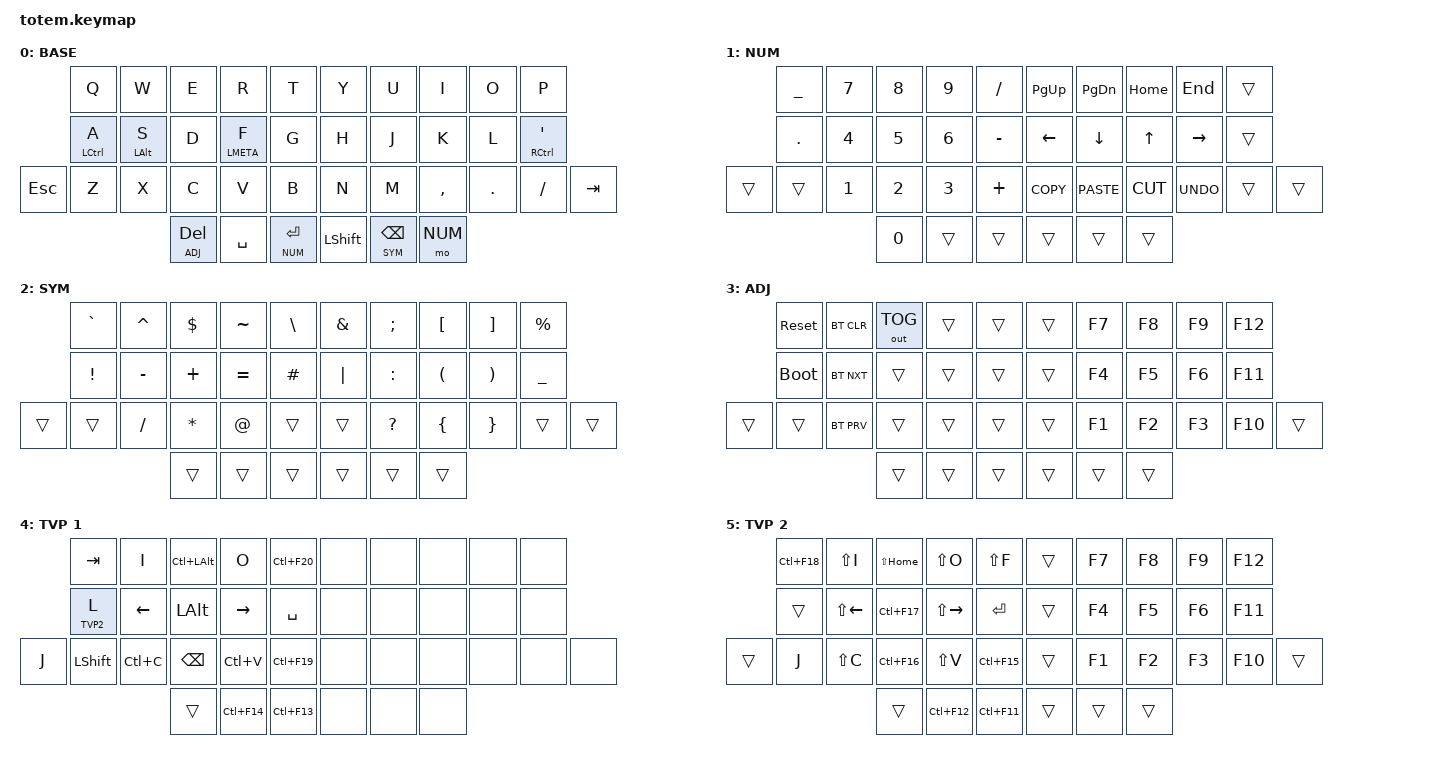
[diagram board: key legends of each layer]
//
//                                                        ▀▀▀▀▀     ▀▀▀▀▀          ▀▀█▀▀
//                                                        ▄▀▀▀▄  ▄  ▄▀▀▀▄  ▄  ▄▀▀▀▄  █  ▄▀▀▀▄
//                                                        █   █  █  █   █  █  █   █  █  █   █
//                                                         ▀▀▀   █   ▀▀▀   █   ▀▀▀   ▀   ▀▀▀
//                                                               █      ▄▄▄█▄▄▄    █   █
//                                                               ▀      █  █  █     █▄█
//                                                             ▀▀▀▀▀    █  █  █      ▀
//                                                                      ▀  ▀  ▀
//
// ▄▄▄▄▄▄▄▄▄▄▄▄▄▄▄▄▄▄▄▄▄▄▄▄▄▄▄▄▄▄▄▄▄▄▄▄▄▄▄▄▄▄▄▄▄▄▄▄▄▄▄▄▄▄▄▄▄▄▄▄▄▄▄▄▄▄▄▄▄▄▄▄▄▄▄▄▄▄▄▄▄▄▄▄▄▄▄▄▄▄▄▄▄▄▄▄▄▄▄▄▄▄▄▄▄▄▄▄▄▄▄▄▄▄▄▄▄▄▄▄▄▄▄▄▄▄▄▄▄▄▄▄▄▄▄▄▄▄▄▄▄▄▄▄▄▄▄▄▄


#include <behaviors.dtsi>
#include <dt-bindings/zmk/keys.h>
#include <dt-bindings/zmk/bt.h>
#include <dt-bindings/zmk/outputs.h>

#define BASE 0
#define NUM  1
#define SYM  2
#define ADJ  3

// UNUSED
#define TVP1 4
#define TVP2 5

&mt {
  quick-tap-ms = <100>;
  global-quick-tap;
  flavor = "tap-preferred";
  tapping-term-ms = <225>;
};

&lt {
    tapping-term-ms = <200>;
    quick-tap-ms = <200>; // This enables the "tap-then-hold" repeat
};

/ {
     combos {
            compatible = "zmk,combos";
            combo_esc {
                timeout-ms = <50>;
                key-positions = <0 1>;
                bindings = <&kp ESC>;
            };
            combo_tvp {
                timeout-ms = <100>;
                key-positions = <11 12 13>;
                bindings = <&tog TVP1>;
            };
    };

    macros {
        gif: gif {
            label = "giphy";
            compatible = "zmk,behavior-macro";
            #binding-cells = <0>;
            bindings
                = <&macro_press &kp LSHFT>
                , <&macro_tap &kp N2>
                , <&macro_release &kp LSHFT>
                , <&macro_tap &kp G &kp I &kp F>
                ;
        };
    };

        keymap {
                compatible = "zmk,keymap";
// ▄▄▄▄▄▄▄▄▄▄▄▄▄▄▄▄▄▄▄▄▄▄▄▄▄▄▄▄▄▄▄▄▄▄▄▄▄▄▄▄▄▄▄▄▄▄▄▄▄▄▄▄▄▄▄▄▄▄▄▄▄▄▄▄▄▄▄▄▄▄▄▄▄▄▄▄▄▄▄▄▄▄▄▄▄▄▄▄▄▄▄▄▄▄▄▄▄▄▄▄▄▄▄▄▄▄▄▄▄▄▄▄▄▄▄▄▄▄▄▄▄▄▄▄▄▄▄▄▄▄▄▄▄▄▄▄▄▄▄▄▄▄▄▄▄▄▄▄▄

                base_layer {
// ┏━━━━━━━━━━━━━━━━━━━━━━━━━━━━━━━━━━━━━━━┓
label= "BASE"                              ;
// ┗━━━━━━━━━━━━━━━━━━━━━━━━━━━━━━━━━━━━━━━┛
//             ┏━━━━━━━━━━━┳━━━━━━━━━━━┳━━━━━━━━━━━┳━━━━━━━━━━━┳━━━━━━━━━━━┓   ┏━━━━━━━━━━━┳━━━━━━━━━━━┳━━━━━━━━━━━┳━━━━━━━━━━━┳━━━━━━━━━━━┓
//             ┃     Q     ┃     W     ┃     E     ┃     R     ┃     T     ┃   ┃     Y     ┃     U     ┃     I     ┃     O     ┃     P     ┃
//             ┣━━━━━━━━━━━╋━━━━━━━━━━━╋━━━━━━━━━━━╋━━━━━━━━━━━╋━━━━━━━━━━━┫   ┣━━━━━━━━━━━╋━━━━━━━━━━━╋━━━━━━━━━━━╋━━━━━━━━━━━╋━━━━━━━━━━━┫
//             ┃     A     ┃     S     ┃     D     ┃     F     ┃     G     ┃   ┃     H     ┃     J     ┃     K     ┃     L     ┃     '     ┃
// ┏━━━━━━━━━━━╋━━━━━━━━━━━╋━━━━━━━━━━━╋━━━━━━━━━━━╋━━━━━━━━━━━╋━━━━━━━━━━━┫   ┣━━━━━━━━━━━╋━━━━━━━━━━━╋━━━━━━━━━━━╋━━━━━━━━━━━╋━━━━━━━━━━━╋━━━━━━━━━━━┓
// ┃    ESC    ┃     Z     ┃     X     ┃     C     ┃     V     ┃     B     ┃   ┃     N     ┃     M     ┃     ,     ┃     .     ┃     /     ┃     TAB   ┃
// ┗━━━━━━━━━━━┻━━━━━━━━━━━┻━━━━━━━━━━━╋━━━━━━━━━━━╋━━━━━━━━━━━╋━━━━━━━━━━━┫   ┣━━━━━━━━━━━╋━━━━━━━━━━━╋━━━━━━━━━━━╋━━━━━━━━━━━┻━━━━━━━━━━━┻━━━━━━━━━━━┛
//                                     ┃    DEL    ┃    SPC    ┃   ENTER   ┃   ┃   SHIFT   ┃   BSPC    ┃   LAYER   ┃
//                                     ┗━━━━━━━━━━━┻━━━━━━━━━━━┻━━━━━━━━━━━┛   ┗━━━━━━━━━━━┻━━━━━━━━━━━┻━━━━━━━━━━━┛
 bindings = <
// ╷           ╷           ╷           ╷           ╷           ╷           ╷   ╷           ╷           ╷           ╷           ╷           ╷           ╷

                &kp Q       &kp W       &kp E       &kp R       &kp T           &kp Y       &kp U       &kp I       &kp O       &kp P
                &mt LCTRL A &mt LALT S  &kp D       &mt LMETA F &kp G           &kp H       &kp J       &kp K       &kp L       &mt RCTRL APOS
    &kp ESC     &kp Z       &kp X       &kp C       &kp V       &kp B           &kp N       &kp M       &kp COMMA   &kp DOT     &kp FSLH    &kp TAB
                                        &lt ADJ DEL &kp SPACE   &lt NUM ENTER   &kp LSHFT  &lt SYM BSPC &mo NUM
                        >;
                };

// ▄▄▄▄▄▄▄▄▄▄▄▄▄▄▄▄▄▄▄▄▄▄▄▄▄▄▄▄▄▄▄▄▄▄▄▄▄▄▄▄▄▄▄▄▄▄▄▄▄▄▄▄▄▄▄▄▄▄▄▄▄▄▄▄▄▄▄▄▄▄▄▄▄▄▄▄▄▄▄▄▄▄▄▄▄▄▄▄▄▄▄▄▄▄▄▄▄▄▄▄▄▄▄▄▄▄▄▄▄▄▄▄▄▄▄▄▄▄▄▄▄▄▄▄▄▄▄▄▄▄▄▄▄▄▄▄▄▄▄▄▄▄▄▄▄▄▄▄▄


                num_layer {
// ┏━━━━━━━━━━━━━━━━━━━━━━━━━━━━━━━━━━━━━━━┓
label= "NUM"                              ;
// ┗━━━━━━━━━━━━━━━━━━━━━━━━━━━━━━━━━━━━━━━┛
//             ┏━━━━━━━━━━━┳━━━━━━━━━━━┳━━━━━━━━━━━┳━━━━━━━━━━━┳━━━━━━━━━━━┓   ┏━━━━━━━━━━━┳━━━━━━━━━━━┳━━━━━━━━━━━┳━━━━━━━━━━━┳━━━━━━━━━━━┓
//             ┃           ┃     7     ┃     8     ┃     9     ┃     /     ┃   ┃   PgUp    ┃   PgDown  ┃   Home    ┃    End    ┃           ┃
//             ┣━━━━━━━━━━━╋━━━━━━━━━━━╋━━━━━━━━━━━╋━━━━━━━━━━━╋━━━━━━━━━━━┫   ┣━━━━━━━━━━━╋━━━━━━━━━━━╋━━━━━━━━━━━╋━━━━━━━━━━━╋━━━━━━━━━━━┫
//             ┃     .     ┃     4     ┃     5     ┃     6     ┃     -     ┃   ┃   LEFT    ┃    DOWN   ┃    UP     ┃    RIGHT  ┃           ┃
// ┏━━━━━━━━━━━╋━━━━━━━━━━━╋━━━━━━━━━━━╋━━━━━━━━━━━╋━━━━━━━━━━━╋━━━━━━━━━━━┫   ┣━━━━━━━━━━━╋━━━━━━━━━━━╋━━━━━━━━━━━╋━━━━━━━━━━━╋━━━━━━━━━━━╋━━━━━━━━━━━┓
// ┃           ┃           ┃     1     ┃     2     ┃     3     ┃     +     ┃   ┃   COPY    ┃    PASTE  ┃   CUT     ┃    UNDO   ┃           ┃           ┃
// ┗━━━━━━━━━━━┻━━━━━━━━━━━┻━━━━━━━━━━━╋━━━━━━━━━━━╋━━━━━━━━━━━╋━━━━━━━━━━━┫   ┣━━━━━━━━━━━╋━━━━━━━━━━━╋━━━━━━━━━━━╋━━━━━━━━━━━┻━━━━━━━━━━━┻━━━━━━━━━━━┛
//                                     ┃     0     ┃           ┃           ┃   ┃           ┃           ┃           ┃
//                                     ┗━━━━━━━━━━━┻━━━━━━━━━━━┻━━━━━━━━━━━┛   ┗━━━━━━━━━━━┻━━━━━━━━━━━┻━━━━━━━━━━━┛
 bindings = <
// ╷           ╷           ╷           ╷           ╷           ╷           ╷   ╷           ╷           ╷           ╷           ╷           ╷           ╷

                &kp UNDER   &kp N7      &kp N8      &kp N9      &kp FSLH        &kp PG_UP   &kp PG_DN   &kp HOME    &kp END     &trans
                &kp DOT     &kp N4      &kp N5      &kp N6      &kp MINUS       &kp LEFT    &kp DOWN    &kp UP      &kp RIGHT   &trans
    &trans      &trans      &kp N1      &kp N2      &kp N3      &kp PLUS        &kp K_COPY  &kp K_PASTE &kp K_CUT   &kp K_UNDO  &trans      &trans
                                        &kp N0      &trans      &trans          &trans      &trans      &trans
                        >;
                };

// ▄▄▄▄▄▄▄▄▄▄▄▄▄▄▄▄▄▄▄▄▄▄▄▄▄▄▄▄▄▄▄▄▄▄▄▄▄▄▄▄▄▄▄▄▄▄▄▄▄▄▄▄▄▄▄▄▄▄▄▄▄▄▄▄▄▄▄▄▄▄▄▄▄▄▄▄▄▄▄▄▄▄▄▄▄▄▄▄▄▄▄▄▄▄▄▄▄▄▄▄▄▄▄▄▄▄▄▄▄▄▄▄▄▄▄▄▄▄▄▄▄▄▄▄▄▄▄▄▄▄▄▄▄▄▄▄▄▄▄▄▄▄▄▄▄▄▄▄▄


                sim_layer {
// ┏━━━━━━━━━━━━━━━━━━━━━━━━━━━━━━━━━━━━━━━┓
label= "SYM"                               ;
// ┗━━━━━━━━━━━━━━━━━━━━━━━━━━━━━━━━━━━━━━━┛
//             ┏━━━━━━━━━━━┳━━━━━━━━━━━┳━━━━━━━━━━━┳━━━━━━━━━━━┳━━━━━━━━━━━┓   ┏━━━━━━━━━━━┳━━━━━━━━━━━┳━━━━━━━━━━━┳━━━━━━━━━━━┳━━━━━━━━━━━┓
//             ┃     `     ┃     ^     ┃     $     ┃     ~     ┃     \     ┃   ┃     &     ┃     ;     ┃     [     ┃     ]     ┃     %     ┃
//             ┣━━━━━━━━━━━╋━━━━━━━━━━━╋━━━━━━━━━━━╋━━━━━━━━━━━╋━━━━━━━━━━━┫   ┣━━━━━━━━━━━╋━━━━━━━━━━━╋━━━━━━━━━━━╋━━━━━━━━━━━╋━━━━━━━━━━━┫
//             ┃     !     ┃     -     ┃    +      ┃     =     ┃    #      ┃   ┃     |     ┃     :     ┃     (     ┃     )     ┃     _     ┃
// ┏━━━━━━━━━━━╋━━━━━━━━━━━╋━━━━━━━━━━━╋━━━━━━━━━━━╋━━━━━━━━━━━╋━━━━━━━━━━━┫   ┣━━━━━━━━━━━╋━━━━━━━━━━━╋━━━━━━━━━━━╋━━━━━━━━━━━╋━━━━━━━━━━━╋━━━━━━━━━━━┓
// ┃           ┃           ┃     /     ┃     *     ┃     @     ┃           ┃   ┃           ┃     ?     ┃     {     ┃     }     ┃           ┃           ┃
// ┗━━━━━━━━━━━┻━━━━━━━━━━━┻━━━━━━━━━━━╋━━━━━━━━━━━╋━━━━━━━━━━━╋━━━━━━━━━━━┫   ┣━━━━━━━━━━━╋━━━━━━━━━━━╋━━━━━━━━━━━╋━━━━━━━━━━━┻━━━━━━━━━━━┻━━━━━━━━━━━┛
//                                     ┃           ┃           ┃           ┃   ┃           ┃           ┃           ┃
//                                     ┗━━━━━━━━━━━┻━━━━━━━━━━━┻━━━━━━━━━━━┛   ┗━━━━━━━━━━━┻━━━━━━━━━━━┻━━━━━━━━━━━┛
 bindings = <
// ╷           ╷           ╷           ╷           ╷           ╷           ╷   ╷           ╷           ╷           ╷           ╷           ╷           ╷

                &kp GRAVE   &kp CARET   &kp DOLLAR  &kp TILDE   &kp BSLH        &kp AMPS    &kp SEMI    &kp LBKT    &kp RBKT    &kp PERCENT
                &kp EXCL    &kp MINUS   &kp PLUS    &kp EQUAL   &kp HASH        &kp PIPE    &kp COLON   &kp LPAR    &kp RPAR    &kp UNDER
    &trans      &trans      &kp FSLH    &kp ASTRK   &kp AT      &trans          &trans      &kp QMARK   &kp LBRC    &kp RBRC    &trans      &trans
                                        &trans      &trans      &trans          &trans      &trans      &trans
                        >;
                };

// ▄▄▄▄▄▄▄▄▄▄▄▄▄▄▄▄▄▄▄▄▄▄▄▄▄▄▄▄▄▄▄▄▄▄▄▄▄▄▄▄▄▄▄▄▄▄▄▄▄▄▄▄▄▄▄▄▄▄▄▄▄▄▄▄▄▄▄▄▄▄▄▄▄▄▄▄▄▄▄▄▄▄▄▄▄▄▄▄▄▄▄▄▄▄▄▄▄▄▄▄▄▄▄▄▄▄▄▄▄▄▄▄▄▄▄▄▄▄▄▄▄▄▄▄▄▄▄▄▄▄▄▄▄▄▄▄▄▄▄▄▄▄▄▄▄▄▄▄▄


                adjust_layer {
// ┏━━━━━━━━━━━━━━━━━━━━━━━━━━━━━━━━━━━━━━━┓
label= "ADJ"                               ;
// ┗━━━━━━━━━━━━━━━━━━━━━━━━━━━━━━━━━━━━━━━┛
//             ┏━━━━━━━━━━━┳━━━━━━━━━━━┳━━━━━━━━━━━┳━━━━━━━━━━━┳━━━━━━━━━━━┓   ┏━━━━━━━━━━━┳━━━━━━━━━━━┳━━━━━━━━━━━┳━━━━━━━━━━━┳━━━━━━━━━━━┓
//             ┃   RESET   ┃ BT CLEAR  ┃  OUT TOG  ┃           ┃           ┃   ┃           ┃    F7     ┃    F8     ┃    F9     ┃    F12    ┃
//             ┣━━━━━━━━━━━╋━━━━━━━━━━━╋━━━━━━━━━━━╋━━━━━━━━━━━╋━━━━━━━━━━━┫   ┣━━━━━━━━━━━╋━━━━━━━━━━━╋━━━━━━━━━━━╋━━━━━━━━━━━╋━━━━━━━━━━━┫
//             ┃ BOOTLOAD  ┃ BT NEXT   ┃           ┃           ┃           ┃   ┃           ┃    F4     ┃    F5     ┃    F6     ┃    F11    ┃
// ┏━━━━━━━━━━━╋━━━━━━━━━━━╋━━━━━━━━━━━╋━━━━━━━━━━━╋━━━━━━━━━━━╋━━━━━━━━━━━┫   ┣━━━━━━━━━━━╋━━━━━━━━━━━╋━━━━━━━━━━━╋━━━━━━━━━━━╋━━━━━━━━━━━╋━━━━━━━━━━━┓
// ┃           ┃           ┃ BT PREV   ┃           ┃           ┃           ┃   ┃           ┃    F1     ┃    F2     ┃    F3     ┃    F10    ┃           ┃
// ┗━━━━━━━━━━━┻━━━━━━━━━━━┻━━━━━━━━━━━╋━━━━━━━━━━━╋━━━━━━━━━━━╋━━━━━━━━━━━┫   ┣━━━━━━━━━━━╋━━━━━━━━━━━╋━━━━━━━━━━━╋━━━━━━━━━━━┻━━━━━━━━━━━┻━━━━━━━━━━━┛
//                                     ┃           ┃           ┃           ┃   ┃           ┃           ┃           ┃
//                                     ┗━━━━━━━━━━━┻━━━━━━━━━━━┻━━━━━━━━━━━┛   ┗━━━━━━━━━━━┻━━━━━━━━━━━┻━━━━━━━━━━━┛
 bindings = <
// ╷           ╷           ╷           ╷           ╷           ╷           ╷   ╷           ╷           ╷           ╷           ╷           ╷           ╷

                &sys_reset  &bt BT_CLR &out OUT_TOG &trans      &trans          &trans      &kp F7      &kp F8      &kp F9      &kp F12
                &bootloader &bt BT_NXT  &trans      &trans      &trans          &trans      &kp F4      &kp F5      &kp F6      &kp F11
    &trans      &trans      &bt BT_PRV  &trans      &trans      &trans          &trans      &kp F1      &kp F2      &kp F3      &kp F10     &trans
                                        &trans      &trans      &trans          &trans      &trans      &trans
                        >;
                };

// ▄▄▄▄▄▄▄▄▄▄▄▄▄▄▄▄▄▄▄▄▄▄▄▄▄▄▄▄▄▄▄▄▄▄▄▄▄▄▄▄▄▄▄▄▄▄▄▄▄▄▄▄▄▄▄▄▄▄▄▄▄▄▄▄▄▄▄▄▄▄▄▄▄▄▄▄▄▄▄▄▄▄▄▄▄▄▄▄▄▄▄▄▄▄▄▄▄▄▄▄▄▄▄▄▄▄▄▄▄▄▄▄▄▄▄▄▄▄▄▄▄▄▄▄▄▄▄▄▄▄▄▄▄▄▄▄▄▄▄▄▄▄▄▄▄▄▄▄▄


                tvp1_layer {
// ┏━━━━━━━━━━━━━━━━━━━━━━━━━━━━━━━━━━━━━━━┓
label= "TVP 1"                             ;
// ┗━━━━━━━━━━━━━━━━━━━━━━━━━━━━━━━━━━━━━━━┛
//             ┏━━━━━━━━━━━┳━━━━━━━━━━━┳━━━━━━━━━━━┳━━━━━━━━━━━┳━━━━━━━━━━━┓   ┏━━━━━━━━━━━┳━━━━━━━━━━━┳━━━━━━━━━━━┳━━━━━━━━━━━┳━━━━━━━━━━━┓
//             ┃ NEXT FILE ┃ MARK IN   ┃ ROTATE    ┃ MARK OUT  ┃ SHOW SNAP ┃   ┃           ┃           ┃           ┃           ┃           ┃
//             ┣━━━━━━━━━━━╋━━━━━━━━━━━╋━━━━━━━━━━━╋━━━━━━━━━━━╋━━━━━━━━━━━┫   ┣━━━━━━━━━━━╋━━━━━━━━━━━╋━━━━━━━━━━━╋━━━━━━━━━━━╋━━━━━━━━━━━┫
//             ┃ TVP II    ┃ LEFT      ┃ PAN       ┃ RIGHT     ┃ PLAY/FLIP ┃   ┃           ┃           ┃           ┃           ┃           ┃
// ┏━━━━━━━━━━━╋━━━━━━━━━━━╋━━━━━━━━━━━╋━━━━━━━━━━━╋━━━━━━━━━━━╋━━━━━━━━━━━┫   ┣━━━━━━━━━━━╋━━━━━━━━━━━╋━━━━━━━━━━━╋━━━━━━━━━━━╋━━━━━━━━━━━╋━━━━━━━━━━━┓
// ┃ FULLSCR   ┃ SHIFT     ┃ COPY      ┃ DELETE    ┃ PASTE     ┃ IMG MARK  ┃   ┃           ┃           ┃           ┃           ┃           ┃           ┃
// ┗━━━━━━━━━━━┻━━━━━━━━━━━┻━━━━━━━━━━━╋━━━━━━━━━━━╋━━━━━━━━━━━╋━━━━━━━━━━━┫   ┣━━━━━━━━━━━╋━━━━━━━━━━━╋━━━━━━━━━━━╋━━━━━━━━━━━┻━━━━━━━━━━━┻━━━━━━━━━━━┛
//                                     ┃           ┃ UNDO/SAVE ┃  SEL/MOV  ┃   ┃           ┃           ┃           ┃
//                                     ┗━━━━━━━━━━━┻━━━━━━━━━━━┻━━━━━━━━━━━┛   ┗━━━━━━━━━━━┻━━━━━━━━━━━┻━━━━━━━━━━━┛
 bindings = <
// ╷           ╷           ╷           ╷           ╷           ╷           ╷   ╷           ╷           ╷           ╷           ╷           ╷           ╷

                &kp TAB     &kp I       &kp LC(LALT) &kp O      &kp LC(F20)     &none       &none       &none       &none       &none
                &lt TVP2 L  &kp LEFT    &kp LALT    &kp RIGHT   &kp SPACE       &none       &none       &none       &none       &none
    &kp J       &kp LSHFT   &kp LC(C)   &kp BSPC    &kp LC(V)   &kp LC(F19)     &none       &none       &none       &none       &none       &none
                                        &trans      &kp LC(F14) &kp LC(F13)     &none       &none       &none
                        >;
                };

// ▄▄▄▄▄▄▄▄▄▄▄▄▄▄▄▄▄▄▄▄▄▄▄▄▄▄▄▄▄▄▄▄▄▄▄▄▄▄▄▄▄▄▄▄▄▄▄▄▄▄▄▄▄▄▄▄▄▄▄▄▄▄▄▄▄▄▄▄▄▄▄▄▄▄▄▄▄▄▄▄▄▄▄▄▄▄▄▄▄▄▄▄▄▄▄▄▄▄▄▄▄▄▄▄▄▄▄▄▄▄▄▄▄▄▄▄▄▄▄▄▄▄▄▄▄▄▄▄▄▄▄▄▄▄▄▄▄▄▄▄▄▄▄▄▄▄▄▄▄


                tvp2_layer {
// ┏━━━━━━━━━━━━━━━━━━━━━━━━━━━━━━━━━━━━━━━┓
label= "TVP 2"                             ;
// ┗━━━━━━━━━━━━━━━━━━━━━━━━━━━━━━━━━━━━━━━┛
//             ┏━━━━━━━━━━━┳━━━━━━━━━━━┳━━━━━━━━━━━┳━━━━━━━━━━━┳━━━━━━━━━━━┓   ┏━━━━━━━━━━━┳━━━━━━━━━━━┳━━━━━━━━━━━┳━━━━━━━━━━━┳━━━━━━━━━━━┓
//             ┃ SOLO      ┃ TOGGLE IN ┃ RESET ROT ┃ TOGGLE OUT┃ TAKE SNAP ┃   ┃           ┃           ┃           ┃           ┃           ┃
//             ┣━━━━━━━━━━━╋━━━━━━━━━━━╋━━━━━━━━━━━╋━━━━━━━━━━━╋━━━━━━━━━━━┫   ┣━━━━━━━━━━━╋━━━━━━━━━━━╋━━━━━━━━━━━╋━━━━━━━━━━━╋━━━━━━━━━━━┫
//             ┃ ---       ┃ LAST KEY  ┃ NEW KEY   ┃ NEXT KEY  ┃ ENTER     ┃   ┃           ┃           ┃           ┃           ┃           ┃
// ┏━━━━━━━━━━━╋━━━━━━━━━━━╋━━━━━━━━━━━╋━━━━━━━━━━━╋━━━━━━━━━━━╋━━━━━━━━━━━┫   ┣━━━━━━━━━━━╋━━━━━━━━━━━╋━━━━━━━━━━━╋━━━━━━━━━━━╋━━━━━━━━━━━╋━━━━━━━━━━━┓
// ┃           ┃ FULLSCR   ┃ CPY2BRUSH ┃ DEL HEAD  ┃ PSTinPLACE┃ BOOK MARK ┃   ┃           ┃           ┃           ┃           ┃           ┃           ┃
// ┗━━━━━━━━━━━┻━━━━━━━━━━━┻━━━━━━━━━━━╋━━━━━━━━━━━╋━━━━━━━━━━━╋━━━━━━━━━━━┫   ┣━━━━━━━━━━━╋━━━━━━━━━━━╋━━━━━━━━━━━╋━━━━━━━━━━━┻━━━━━━━━━━━┻━━━━━━━━━━━┛
//                                     ┃           ┃ REDO/SAV1 ┃TRANS/WARP ┃   ┃           ┃           ┃           ┃
//                                     ┗━━━━━━━━━━━┻━━━━━━━━━━━┻━━━━━━━━━━━┛   ┗━━━━━━━━━━━┻━━━━━━━━━━━┻━━━━━━━━━━━┛
 bindings = <
// ╷           ╷           ╷           ╷           ╷           ╷           ╷   ╷           ╷           ╷           ╷           ╷           ╷           ╷

                &kp LC(F18) &kp LS(I)  &kp LS(HOME) &kp LS(O)   &kp LS(F)       &trans      &kp F7      &kp F8      &kp F9      &kp F12
                &trans      &kp LS(LEFT) &kp LC(F17) &kp LS(RIGHT) &kp RET      &trans      &kp F4      &kp F5      &kp F6      &kp F11
    &trans      &kp J       &kp LS(C)   &kp LC(F16) &kp LS(V)   &kp LC(F15)     &trans      &kp F1      &kp F2      &kp F3      &kp F10     &trans
                                        &trans      &kp LC(F12) &kp LC(F11)     &trans      &trans      &trans
                        >;
                };
        };
};
